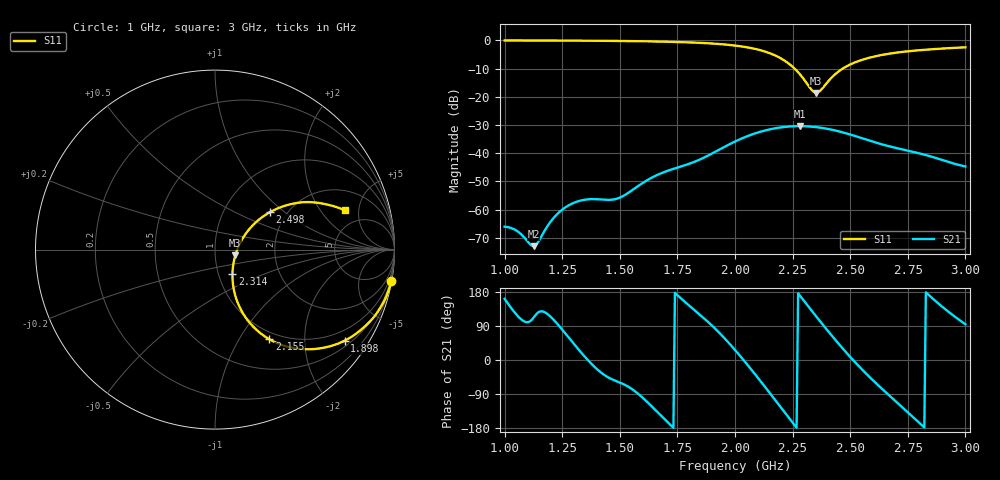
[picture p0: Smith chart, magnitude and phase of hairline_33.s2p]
! TOUCHSTONE file generated by CST MICROWAVE STUDIO
! Date and time: Tue Mar 18 20:31:50 2025
! Project name: hairline.cst
! Parameters = {B=12.5; D=160; F=25; Feed=2.85625; Fracture=2; L=100; M=30; R=0.384908; S=1.5; Theta=180; length=57.125; wave=114.25}
! Header version: 2024
! Port assignment regex: !\s*Touchstone port\s*([0-9]+)\s*=\s*(CST MWS port|CST DES external port|CST DES block port)\s*(.+)\s* \(\"(.*)\"\)(\s*mode\s*([0-9]+))?.*
! Touchstone port assignment:
! Touchstone port 1 = CST MWS port 1 ("")
! Touchstone port 2 = CST MWS port 2 ("")
# GHz S DB R 50
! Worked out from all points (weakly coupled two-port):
!   304 points, 1 GHz to 3 GHz, reference 50 ohm
!   highest |S21| = -30.39 dB at 2.281 GHz (marker M1); lowest = -72.9 dB at 1.125 GHz (marker M2)
!   lowest |S11| = -18.6 dB at 2.353 GHz (marker M3), VSWR 1.27, Z = 62.6 - j3.99 ohm
!   |S11| at or under -10 dB: 2.259 GHz to 2.467 GHz (208.8 MHz wide, 8.84 % of centre)
!   S12 and S22 are empty: the file has one direction only
!   S11 on the Smith chart (normalised r, x): 1 GHz: 0, -11; 1.898 GHz: 0.66, -3.03; 2.155 GHz: 0.90, -1.36; 2.314 GHz: 1.17, -0.33; 2.498 GHz: 1.65, +0.80; 3 GHz: 3.45, +3.50
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1  -0.02 -10.0  -66.02 161.4  -200.00 0.0  -200.00 0.0
1.05281  -0.03 -10.7  -67.49 118.8  -200.00 0.0  -200.00 0.0
1.12541  -0.03 -11.8  -72.93 111.6  -200.00 0.0  -200.00 0.0
1.13861  -0.04 -12.0  -72.25 121.6  -200.00 0.0  -200.00 0.0
1.19142  -0.05 -12.9  -65.17 118.8  -200.00 0.0  -200.00 0.0
1.23102  -0.06 -13.5  -61.33 93.8  -200.00 0.0  -200.00 0.0
1.28383  -0.08 -14.5  -58.20 55.1  -200.00 0.0  -200.00 0.0
1.33663  -0.10 -15.5  -56.64 16.6  -200.00 0.0  -200.00 0.0
1.48845  -0.19 -18.9  -56.08 -56.7  -200.00 0.0  -200.00 0.0
1.66667  -0.40 -24.3  -47.54 -139.4  -200.00 0.0  -200.00 0.0
1.89769  -1.09 -35.1  -40.20 92.2  -200.00 0.0  -200.00 0.0
2.0033  -1.86 -42.9  -35.72 24.3  -200.00 0.0  -200.00 0.0
2.15512  -4.67 -58.8  -31.45 -90.4  -200.00 0.0  -200.00 0.0
2.22112  -7.50 -65.5  -30.62 -142.4  -200.00 0.0  -200.00 0.0
2.28053  -11.89 -65.2  -30.39 170.8  -200.00 0.0  -200.00 0.0
2.31353  -15.45 -54.8  -30.46 145.0  -200.00 0.0  -200.00 0.0
2.33993  -18.14 -32.0  -30.63 124.6  -200.00 0.0  -200.00 0.0
2.35314  -18.59 -15.5  -30.74 114.5  -200.00 0.0  -200.00 0.0
2.43894  -11.70 33.2  -32.00 50.6  -200.00 0.0  -200.00 0.0
2.49835  -8.60 34.2  -33.32 9.2  -200.00 0.0  -200.00 0.0
2.66997  -4.70 27.1  -37.55 -93.8  -200.00 0.0  -200.00 0.0
3  -2.45 16.8  -44.68 94.2  -200.00 0.0  -200.00 0.0
